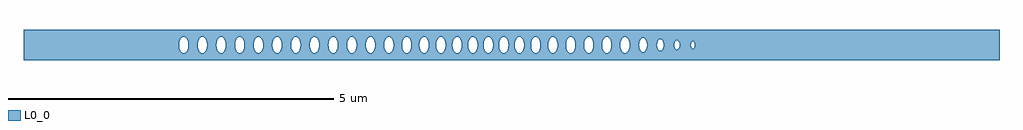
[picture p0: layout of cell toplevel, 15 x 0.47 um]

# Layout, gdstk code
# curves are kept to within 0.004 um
import gdstk
lib = gdstk.Library(unit=1e-6, precision=1e-09)
def P(c, l, *ps):  # polygons
    for p in ps: c.add(gdstk.Polygon(p, *l))
L0_0 = (0, 0)

toplevel = lib.new_cell('toplevel')
P(toplevel, L0_0, [(-4.459,-0.234),(-4.459,-0.127),(-4.49,-0.119),(-4.513,-0.093),(-4.531,-0.047),(-4.536,-0.008),(-4.531,0.047),(-4.513,0.093),(-4.49,0.119),(-4.459,0.127),(-4.459,0.234),(-7.5,0.234),(-7.5,-0.008),(-5.11,-0.008),(-5.105,0.047),(-5.087,0.093),(-5.064,0.119),(-5.038,0.128),(-5.011,0.119),(-4.988,0.093),(-4.97,0.047),(-4.965,-0.008),(-4.823,-0.008),(-4.818,0.047),(-4.8,0.093),(-4.777,0.119),(-4.75,0.128),(-4.724,0.119),(-4.704,0.098),(-4.689,0.068),(-4.678,0.008),(-4.683,-0.047),(-4.701,-0.093),(-4.724,-0.119),(-4.75,-0.128),(-4.777,-0.119),(-4.797,-0.098),(-4.812,-0.068),(-4.823,-0.008),(-4.965,-0.008),(-4.976,-0.068),(-4.991,-0.098),(-5.011,-0.119),(-5.038,-0.128),(-5.064,-0.119),(-5.084,-0.098),(-5.099,-0.068),(-5.11,-0.008),(-7.5,-0.008),(-7.5,-0.234)],
  [(-0.766,-0.032),(-0.79,-0.098),(-0.81,-0.119),(-0.836,-0.128),(-0.863,-0.119),(-0.886,-0.093),(-0.904,-0.047),(-0.909,-0.008),(-1.013,-0.008),(-1.013,-0.234),(-0.369,-0.234),(-0.369,-0.125),(-0.391,-0.112),(-0.409,-0.087),(-0.428,-0.016),(-0.425,0.039),(-0.412,0.081),(-0.395,0.108),(-0.369,0.125),(-0.369,0.234),(-1.013,0.234),(-1.013,-0.008),(-0.909,-0.008),(-0.904,0.047),(-0.895,0.075),(-0.875,0.108),(-0.85,0.125),(-0.818,0.123),(-0.79,0.098),(-0.769,0.047),(-0.764,0),(-0.667,0),(-0.658,0.061),(-0.629,0.112),(-0.594,0.128),(-0.567,0.119),(-0.555,0.108),(-0.538,0.081),(-0.527,0.047),(-0.522,-0.016),(-0.538,-0.081),(-0.567,-0.119),(-0.594,-0.128),(-0.621,-0.119),(-0.633,-0.108),(-0.658,-0.061),(-0.667,0),(-0.764,0)],
  [(0.924,0.234),(0.924,0.125),(0.949,0.108),(0.969,0.075),(0.979,0.039),(0.982,-0.016),(1.115,-0.016),(1.118,0.039),(1.131,0.081),(1.16,0.119),(1.187,0.128),(1.214,0.119),(1.237,0.093),(1.253,0.054),(1.26,0),(1.253,-0.054),(1.237,-0.093),(1.214,-0.119),(1.187,-0.128),(1.16,-0.119),(1.141,-0.098),(1.126,-0.068),(1.115,-0.016),(0.982,-0.016),(0.976,-0.054),(0.96,-0.093),(0.945,-0.112),(0.924,-0.125),(0.924,-0.234),(1.536,-0.234),(1.536,-0.016),(1.532,-0.047),(1.514,-0.093),(1.491,-0.119),(1.464,-0.128),(1.438,-0.119),(1.418,-0.098),(1.403,-0.068),(1.392,-0.016),(1.395,0.039),(1.408,0.081),(1.429,0.112),(1.455,0.126),(1.478,0.125),(1.507,0.103),(1.528,0.061),(1.536,0.016),(1.536,0.234)],
  [(2.262,0.08),(2.275,0.089),(2.294,0.091),(2.321,0.071),(2.335,0.039),(2.339,-0.009),(2.5,-0.009),(2.502,0.023),(2.513,0.054),(2.524,0.067),(2.544,0.074),(2.56,0.067),(2.576,0.043),(2.583,-0.007),(2.757,-0.007),(2.764,0.036),(2.777,0.052),(2.791,0.056),(2.813,0.036),(2.82,-0.01),(2.809,-0.043),(2.787,-0.056),(2.768,-0.043),(2.757,-0.007),(2.583,-0.007),(2.57,-0.054),(2.56,-0.067),(2.539,-0.074),(2.513,-0.054),(2.5,-0.009),(2.339,-0.009),(2.33,-0.054),(2.31,-0.083),(2.281,-0.091),(2.254,-0.071),(2.254,-0.234),(7.5,-0.234),(7.5,0.234),(2.254,0.234),(2.254,0.071)],
  [(-4.393,-0.032),(-4.417,-0.098),(-4.437,-0.119),(-4.459,-0.127),(-4.459,-0.234),(-4.145,-0.234),(-4.145,-0.115),(-4.176,-0.128),(-4.203,-0.119),(-4.215,-0.108),(-4.24,-0.061),(-4.249,0),(-4.24,0.061),(-4.215,0.108),(-4.203,0.119),(-4.176,0.128),(-4.145,0.115),(-4.145,0.234),(-4.459,0.234),(-4.459,0.127),(-4.428,0.112),(-4.407,0.081),(-4.391,0.016)],
  [(-3.819,-0.035),(-3.83,-0.075),(-3.846,-0.103),(-3.862,-0.119),(-3.889,-0.128),(-3.916,-0.119),(-3.939,-0.093),(-3.955,-0.054),(-3.961,-0.016),(-3.959,0.032),(-3.948,0.075),(-3.928,0.108),(-3.903,0.125),(-3.875,0.125),(-3.85,0.108),(-3.83,0.075),(-3.819,0.032),(-3.819,0.234),(-4.145,0.234),(-4.145,0.115),(-4.12,0.081),(-4.104,0.016),(-4.106,-0.032),(-4.115,-0.068),(-4.145,-0.115),(-4.145,-0.234),(-3.819,-0.234)],
  [(-3.385,0.032),(-3.382,0.234),(-3.819,0.234),(-3.817,-0.016),(-3.674,-0.016),(-3.671,0.039),(-3.658,0.081),(-3.629,0.119),(-3.602,0.128),(-3.575,0.119),(-3.552,0.093),(-3.536,0.054),(-3.529,0),(-3.536,-0.054),(-3.552,-0.093),(-3.575,-0.119),(-3.602,-0.128),(-3.629,-0.119),(-3.648,-0.098),(-3.663,-0.068),(-3.674,-0.016),(-3.817,-0.016),(-3.819,-0.234),(-3.382,-0.234)],
  [(-3.373,0.075),(-3.354,0.108),(-3.341,0.119),(-3.315,0.128),(-3.288,0.119),(-3.256,0.075),(-3.247,0.047),(-3.242,-0.008),(-3.247,-0.047),(-3.265,-0.093),(-3.28,-0.112),(-3.301,-0.125),(-3.328,-0.125),(-3.35,-0.112),(-3.373,-0.075),(-3.382,-0.047),(-3.382,-0.234),(-3.046,-0.234),(-3.046,-0.123),(-3.066,-0.108),(-3.086,-0.075),(-3.1,-0.008),(-3.089,0.068),(-3.074,0.098),(-3.046,0.123),(-3.046,0.234),(-3.382,0.234),(-3.382,0.047)],
  [(-2.956,-0.024),(-2.966,-0.068),(-2.989,-0.108),(-3.014,-0.125),(-3.046,-0.123),(-3.046,-0.234),(-2.71,-0.234),(-2.71,-0.115),(-2.74,-0.128),(-2.767,-0.119),(-2.779,-0.108),(-2.802,-0.068),(-2.813,-0.008),(-2.802,0.068),(-2.779,0.108),(-2.767,0.119),(-2.74,0.128),(-2.71,0.115),(-2.71,0.234),(-3.046,0.234),(-3.046,0.123),(-3.014,0.125),(-2.981,0.098),(-2.96,0.047)],
  [(-2.386,-0.047),(-2.397,-0.081),(-2.418,-0.112),(-2.44,-0.125),(-2.467,-0.125),(-2.488,-0.112),(-2.503,-0.093),(-2.521,-0.047),(-2.526,-0.008),(-2.521,0.047),(-2.512,0.075),(-2.492,0.108),(-2.467,0.125),(-2.44,0.125),(-2.418,0.112),(-2.397,0.081),(-2.386,0.047),(-2.386,0.234),(-2.71,0.234),(-2.71,0.115),(-2.679,0.068),(-2.668,0.008),(-2.679,-0.068),(-2.71,-0.115),(-2.71,-0.234),(-2.386,-0.234)],
  [(-2.383,-0.032),(-2.386,-0.234),(-1.952,-0.234),(-1.952,-0.047),(-1.957,-0.016),(-1.952,0.234),(-2.386,0.234),(-2.381,0),(-2.24,0),(-2.235,0.047),(-2.217,0.093),(-2.194,0.119),(-2.167,0.128),(-2.141,0.119),(-2.121,0.098),(-2.106,0.068),(-2.095,0.016),(-2.098,-0.039),(-2.111,-0.081),(-2.132,-0.112),(-2.167,-0.128),(-2.194,-0.119),(-2.217,-0.093),(-2.235,-0.047),(-2.24,0),(-2.381,0)],
  [(-1.948,0.061),(-1.935,0.093),(-1.912,0.119),(-1.885,0.128),(-1.858,0.119),(-1.826,0.075),(-1.816,0.039),(-1.813,-0.016),(-1.835,-0.093),(-1.85,-0.112),(-1.871,-0.125),(-1.899,-0.125),(-1.92,-0.112),(-1.944,-0.075),(-1.952,-0.047),(-1.952,-0.234),(-1.61,-0.234),(-1.61,-0.128),(-1.636,-0.119),(-1.656,-0.098),(-1.671,-0.068),(-1.682,-0.016),(-1.679,0.039),(-1.668,0.075),(-1.645,0.112),(-1.61,0.128),(-1.61,0.234),(-1.952,0.234),(-1.952,0.047)],
  [(-1.541,-0.039),(-1.551,-0.075),(-1.567,-0.103),(-1.583,-0.119),(-1.61,-0.128),(-1.61,-0.234),(-1.3,-0.234),(-1.3,-0.103),(-1.329,-0.125),(-1.343,-0.128),(-1.37,-0.119),(-1.402,-0.075),(-1.415,-0.016),(-1.41,0.047),(-1.402,0.075),(-1.382,0.108),(-1.37,0.119),(-1.343,0.128),(-1.316,0.119),(-1.3,0.103),(-1.3,0.234),(-1.61,0.234),(-1.61,0.128),(-1.575,0.112),(-1.551,0.075),(-1.537,0.008)],
  [(-1.013,-0.008),(-1.018,-0.047),(-1.036,-0.093),(-1.059,-0.119),(-1.085,-0.128),(-1.112,-0.119),(-1.135,-0.093),(-1.153,-0.047),(-1.158,-0.008),(-1.153,0.047),(-1.135,0.093),(-1.112,0.119),(-1.085,0.128),(-1.059,0.119),(-1.039,0.098),(-1.024,0.068),(-1.013,0.008),(-1.013,0.234),(-1.3,0.234),(-1.3,0.103),(-1.279,0.061),(-1.271,0.016),(-1.277,-0.054),(-1.3,-0.103),(-1.3,-0.234),(-1.013,-0.234)],
  [(-0.286,-0.032),(-0.297,-0.075),(-0.317,-0.108),(-0.342,-0.125),(-0.369,-0.125),(-0.369,-0.234),(-0.096,-0.234),(-0.096,-0.121),(-0.119,-0.128),(-0.145,-0.119),(-0.157,-0.108),(-0.18,-0.068),(-0.191,-0.008),(-0.186,0.047),(-0.165,0.098),(-0.132,0.125),(-0.119,0.128),(-0.096,0.121),(-0.096,0.234),(-0.369,0.234),(-0.369,0.125),(-0.356,0.128),(-0.329,0.119),(-0.306,0.093),(-0.287,0.039)],
  [(0.183,-0.068),(0.168,-0.098),(0.148,-0.119),(0.122,-0.128),(0.099,-0.121),(0.079,-0.103),(0.063,-0.075),(0.049,-0.008),(0.054,0.047),(0.063,0.075),(0.095,0.119),(0.122,0.128),(0.148,0.119),(0.168,0.098),(0.183,0.068),(0.183,0.234),(-0.096,0.234),(-0.096,0.121),(-0.072,0.098),(-0.06,0.075),(-0.046,0.008),(-0.057,-0.068),(-0.072,-0.098),(-0.096,-0.121),(-0.096,-0.234),(0.183,-0.234)],
  [(0.566,0.032),(0.577,0.075),(0.593,0.103),(0.593,0.234),(0.183,0.234),(0.183,0.067),(0.192,0.032),(0.194,-0.016),(0.3,-0.016),(0.302,0.032),(0.313,0.075),(0.337,0.112),(0.372,0.128),(0.399,0.119),(0.422,0.093),(0.438,0.054),(0.444,0.016),(0.442,-0.032),(0.431,-0.075),(0.407,-0.112),(0.372,-0.128),(0.345,-0.119),(0.322,-0.093),(0.3,-0.016),(0.194,-0.016),(0.183,-0.068),(0.183,-0.234),(0.593,-0.234),(0.593,-0.103),(0.577,-0.075),(0.567,-0.04)],
  [(0.601,0.112),(0.636,0.128),(0.663,0.119),(0.675,0.108),(0.702,0.054),(0.708,-0.016),(0.695,-0.075),(0.663,-0.119),(0.636,-0.128),(0.622,-0.125),(0.593,-0.103),(0.593,-0.234),(0.924,-0.234),(0.924,-0.125),(0.896,-0.125),(0.867,-0.103),(0.851,-0.075),(0.838,-0.016),(0.841,0.039),(0.86,0.093),(0.883,0.119),(0.91,0.128),(0.924,0.125),(0.924,0.234),(0.593,0.234),(0.593,0.103)],
  [(1.96,0.014),(1.962,0.234),(1.536,0.234),(1.536,-0.016),(1.672,-0.016),(1.675,0.039),(1.688,0.081),(1.717,0.119),(1.744,0.128),(1.771,0.119),(1.794,0.093),(1.81,0.054),(1.817,0),(1.81,-0.054),(1.794,-0.093),(1.771,-0.119),(1.744,-0.128),(1.717,-0.119),(1.698,-0.098),(1.683,-0.068),(1.672,-0.016),(1.536,-0.016),(1.536,-0.234),(1.962,-0.234)],
  [(1.964,0.04),(1.976,0.075),(1.995,0.099),(2.014,0.109),(2.033,0.108),(2.052,0.096),(2.072,0.064),(2.084,-0.007),(2.067,-0.075),(2.052,-0.096),(2.029,-0.109),(2.01,-0.108),(1.985,-0.089),(1.962,-0.034),(1.962,-0.234),(2.254,-0.234),(2.254,-0.071),(2.24,-0.039),(2.235,0),(2.24,0.039),(2.254,0.071),(2.254,0.234),(1.962,0.234)])

lib.write_gds('toplevel.gds')
